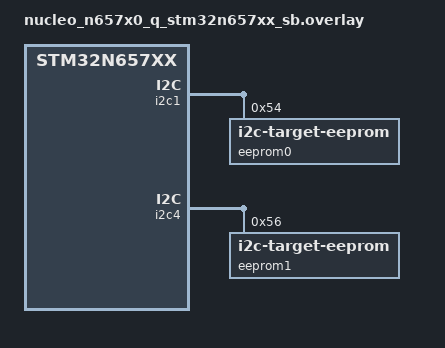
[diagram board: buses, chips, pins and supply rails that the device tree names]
/*
 * Copyright (c) 2025 STMicroelectronics
 * SPDX-License-Identifier: Apache-2.0
 */

/* I2C bus pins are exposed on the ST Arduino header.
 *
 *  Bus        SDA                    SCL
 *          Pin   Hdr              Pin   Hdr
 *  i2c1    PC1   CN15:5           PH9   CN15:3
 *  i2c4    PE14  CN15:26          PE13  CN15:28
 *
 * Short Pin PC1 to PE14, and PH9 to PE13, for the test to pass.
 */

&i2c1 {
	eeprom0: eeprom@54 {
		compatible = "zephyr,i2c-target-eeprom";
		reg = <0x54>;
		size = <256>;
	};
};

&i2c4 {
	eeprom1: eeprom@56 {
		compatible = "zephyr,i2c-target-eeprom";
		reg = <0x56>;
		size = <256>;
	};
};
